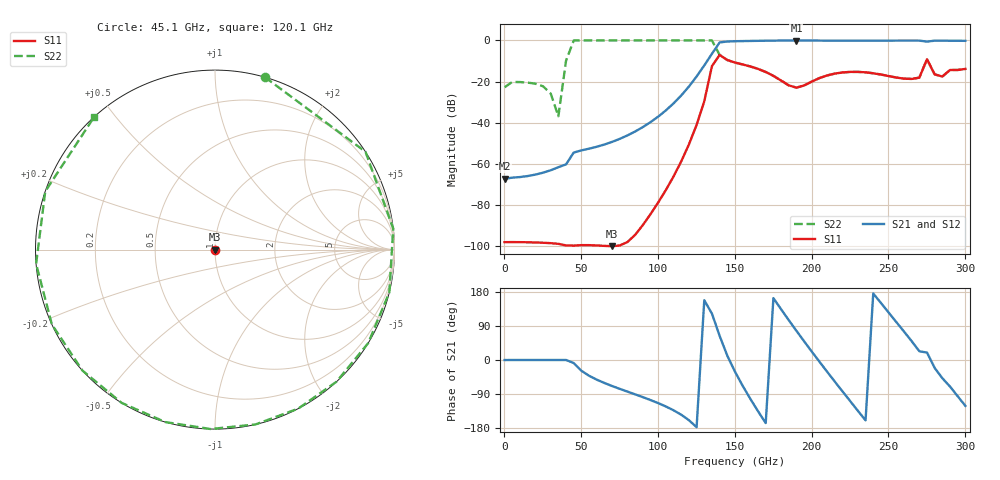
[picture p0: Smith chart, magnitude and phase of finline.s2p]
! Touchstone file from project 230GHz_Quartz_finline_2-5um_07_Paris_rho_nonotch_FINAL_supermix
! Exported from HFSS 15.0.0
! Variables:
!  GHz = 1000000000
!  finT = 200nm
!  notchTriL = 1mm
!  subL = 1.227317mm
!  subT = 100um
!  wgA = 1.1mm
!  wgB = 0.55mm
!  wgL = 3mm
!Data is not renormalized
# GHZ S MA
! Modal data exported
! Port[1] = WavePort1:1
! Port[2] = WavePort2:1
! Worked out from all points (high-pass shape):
!   61 points, 100 MHz to 300.1 GHz, reference per port
!   highest |S21| = -0.02 dB at 190.1 GHz (marker M1); lowest = -67.3 dB at 100 MHz (marker M2)
!   |S21| within 3 dB of the highest: 138.2 GHz to end of sweep
!   lowest |S11| = -100.2 dB at 70.1 GHz (marker M3), VSWR 1.00
!   |S11| at or under -10 dB: start of sweep to 137.4 GHz; 147 GHz to 274.6 GHz (127.7 GHz wide, 60.6 % of centre); 275.7 GHz to end of sweep
!   |S22| runs from -36.9 to 0.0 dB; largest |S21 - S12| = 2.3e-10
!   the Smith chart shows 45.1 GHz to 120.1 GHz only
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0.1  1.227e-05 180.0  0.0004292 -0.1  0.0004292 -0.1  0.07253 -0.6
! Gamma ! 2855.99537590583 0 1439.76938042905 4.94491476829535
! Port Impedance 0 0.170515514078093 -0.000293116582440038 0.140463229676677
25.1  1.187e-05 -180.0  0.0006024 0.0  0.0006024 0.0  0.07665 0.0
35.1  1.117e-05 -180.0  0.0008197 0.0  0.0008197 0.0  0.01427 179.9
40.1  1.023e-05 -180.0  0.0009626 0.0  0.0009626 0.0  0.3218 180.0
45.1  1.011e-05 -170.1  0.001867 -8.1  0.001867 -8.1  1 73.9
50.1  1.04e-05 -167.7  0.002105 -28.5  0.002105 -28.5  1 33.0
70.1  9.797e-06 -144.0  0.003394 -68.7  0.003394 -68.7  0.9999 -47.4
100.1  0.0001135 -59.6  0.01399 -113.8  0.01399 -113.8  0.9998 -137.6
115.1  0.001137 -67.1  0.04575 -144.5  0.04575 -144.5  0.9998 161.1
125.1  0.008796 -90.2  0.1326 -177.4  0.1326 -177.4  0.9998 95.3
135.1  0.2383 -151.8  0.4746 122.2  0.4746 122.2  0.9998 -25.6
140.1  0.4438 34.7  0.896 63.7  0.896 63.7  0.4438 -87.3
150.1  0.2894 -98.0  0.9571 -30.9  0.9571 -30.9  0.2894 -143.8
160.1  0.2326 162.3  0.9724 -102.6  0.9724 -102.6  0.2326 172.5
170.1  0.1709 76.0  0.9852 -166.4  0.9852 -166.4  0.1708 131.1
190.1  0.07103 -27.1  0.9973 77.0  0.9973 77.0  0.071 1.1
200.1  0.09977 -61.2  0.9948 22.1  0.9948 22.1  0.09976 -74.5
220.1  0.1663 173.8  0.9859 -82.9  0.9859 -82.9  0.1663 -159.6
235.1  0.1673 76.4  0.9857 -159.2  0.9857 -159.2  0.1672 145.2
250.1  0.1362 -11.6  0.9905 125.4  0.9905 125.4  0.1361 82.4
270.1  0.1243 -121.9  0.992 23.2  0.992 23.2  0.1243 -11.7
300.1  0.2027 110.0  0.979 -121.1  0.979 -121.1  0.2027 -172.2
